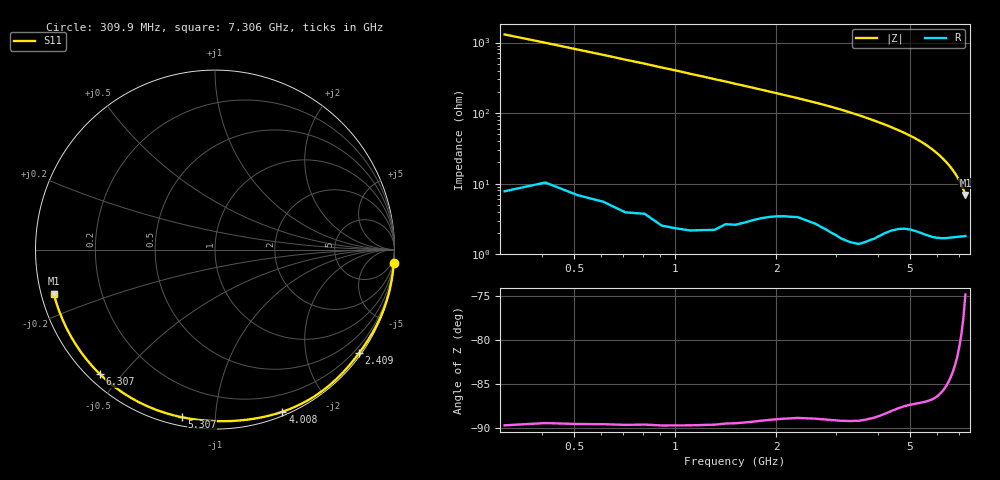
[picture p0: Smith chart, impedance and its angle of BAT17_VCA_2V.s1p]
! Infineon Technologies  Discrete & RF Semiconductors
! BAT17
! VCA = 2 V
! One-Port S-Parameters
# Hz  S  MA  R  50
!f  S11
!Hz  Mag  Ang
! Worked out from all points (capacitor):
!   71 points, 309.9 MHz to 7.306 GHz, reference 50 ohm
!   read as one part to ground: C = 391 fF near 309.9 MHz
!   lowest |Z| = 6.93 ohm at 7.306 GHz (marker M1)
!   S11 on the Smith chart (normalised r, x): 309.9 MHz: 0, -26; 2.409 GHz: 0.06, -3.10; 4.008 GHz: 0.04, -1.50; 5.307 GHz: 0.04, -0.82; 6.307 GHz: 0.03, -0.44; 7.306 GHz: 0.04, -0.13
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3.0985e8  0.9995 -4.4
8.096e8  0.9985 -11.4
1.2094e9  0.998 -17.3
1.6092e9  0.9954 -23.3
2.10895e9  0.9902 -31.0
2.4088e9  0.9883 -35.8
2.70865e9  0.9882 -40.7
3.0085e9  0.9886 -46.1
3.2084e9  0.9888 -50.0
3.4083e9  0.9881 -54.1
3.6082e9  0.9864 -58.3
3.8081e9  0.9828 -62.8
4.008e9  0.9784 -67.4
4.30785e9  0.9699 -74.6
4.50775e9  0.9643 -79.5
4.70765e9  0.9593 -84.7
5.0075e9  0.9542 -92.7
5.30735e9  0.9522 -101.2
5.6072e9  0.951 -110.3
5.8071e9  0.9502 -116.6
5.90705e9  0.9493 -119.8
6.10695e9  0.9473 -126.3
6.30685e9  0.9448 -132.8
6.50675e9  0.9417 -139.3
6.70665e9  0.9386 -145.7
6.90655e9  0.936 -152.1
7.10645e9  0.9335 -158.5
7.30635e9  0.9312 -164.7
